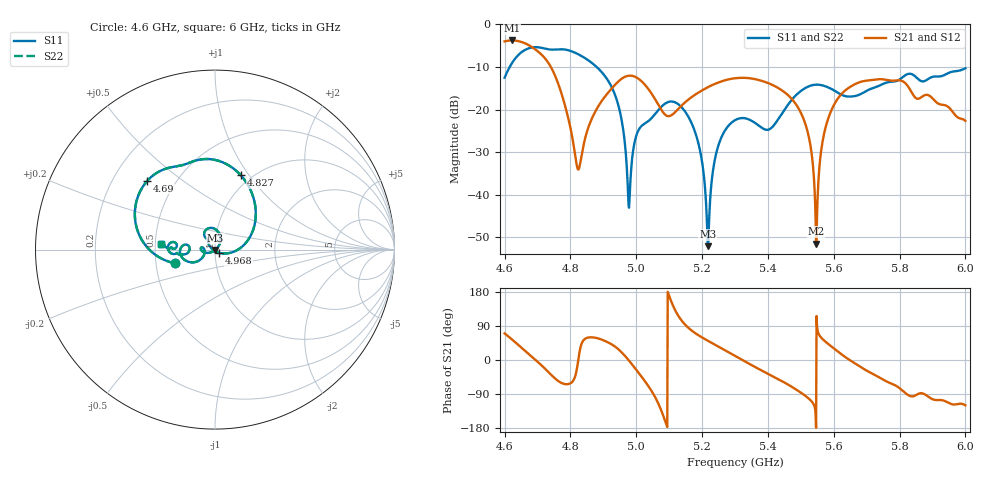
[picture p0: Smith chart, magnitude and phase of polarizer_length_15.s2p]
! TOUCHSTONE file generated by CST MICROWAVE STUDIO
! Date and time: Sun Dec  1 17:17:01 2024
! Project name: test_tuning.cst
! Parameters = {airCoaxOuterDiameter=3; chamferAngle=45; chamferWidth=24; connectorLength=10; drillingHoleDiameter=4.1; feedLength=60; flareDiameter=130; flareLength=70; gratingDistance=0; gratingGap=1.90274; outletLength=30; polarizerLength=92; probe1Diameter=1.3; probe1Distance=14; probe1Length=12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
! Header version: 2024
! Port assignment regex: !\s*Touchstone port\s*([0-9]+)\s*=\s*(CST MWS port|CST DES external port|CST DES block port)\s*(.+)\s* \(\"(.*)\"\)(\s*mode\s*([0-9]+))?.*
! Touchstone port assignment:
! Touchstone port 1 = CST MWS port 1 ("Input1")
! Touchstone port 2 = CST MWS port 2 ("Input2")
# GHz S MA R 50
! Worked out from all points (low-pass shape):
!   1001 points, 4.6 GHz to 6 GHz, reference 50 ohm
!   highest |S21| = -3.81 dB at 4.622 GHz (marker M1); lowest = -51.4 dB at 5.546 GHz (marker M2)
!   |S21| within 3 dB of the highest: start of sweep to 4.708 GHz
!   lowest |S11| = -52.0 dB at 5.217 GHz (marker M3), VSWR 1.01, Z = 50.2 - j0.149 ohm
!   |S11| at or under -10 dB: start of sweep to 4.615638 GHz; 4.879 GHz to end of sweep
!   |S22| runs from -52.0 to -5.4 dB; largest |S21 - S12| = 1.8e-06
!   S11 on the Smith chart (normalised r, x): 4.6 GHz: 0.63, -0.10; 4.69 GHz: 0.35, +0.38; 4.827 GHz: 0.89, +0.92; 4.968 GHz: 1.05, -0.04; 6 GHz: 0.53, +0.04
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4.6  0.2358 -161.2  0.6291 70.1  0.6291 70.1  0.2358 -161.2
4.6224  0.35 -177.5  0.645 54.2  0.645 54.2  0.35 -177.5
4.6896  0.5379 134.4  0.5186 3.4  0.5186 3.4  0.5379 134.4
4.7582  0.5061 104.7  0.2239 -52.3  0.2239 -52.3  0.5061 104.7
4.8268  0.4382 70.8  0.02079 17.1  0.02079 17.1  0.4382 70.8
4.8338  0.4236 67.4  0.02881 42.6  0.02881 42.6  0.4236 67.4
4.929  0.1707 11.0  0.1829 39.2  0.1829 39.2  0.1707 11.0
4.9682  0.0307 -36.0  0.2442 8.4  0.2442 8.4  0.0307 -36.0
4.9794  0.008641 -159.9  0.2495 -3.2  0.2495 -3.2  0.008641 -159.9
5.0032  0.05335 134.4  0.2344 -29.4  0.2344 -29.4  0.05335 134.4
5.0676  0.09904 127.1  0.1126 -116.1  0.1126 -116.1  0.09904 127.1
5.167  0.0707 64.3  0.1387 78.6  0.1387 78.6  0.0707 64.3
5.2174  0.002501 -36.3  0.1826 50.8  0.1826 50.8  0.0025 -36.3
5.2468  0.03497 -150.3  0.2054 36.6  0.2054 36.6  0.03497 -150.3
5.3  0.07494 -176.0  0.2325 10.9  0.2325 10.9  0.07494 -176.0
5.468  0.1236 -146.9  0.139 -68.4  0.139 -68.4  0.1236 -146.9
5.5338  0.1924 -169.4  0.02843 -110.3  0.02843 -110.3  0.1924 -169.4
5.5464  0.1956 -174.7  0.002684 -179.0  0.002684 -179.0  0.1956 -174.7
5.5688  0.1903 177.1  0.04811 53.0  0.04811 53.0  0.1903 177.1
5.6052  0.1637 170.2  0.1216 27.3  0.1216 27.3  0.1637 170.2
5.7676  0.2101 -174.2  0.2196 -59.4  0.2196 -59.4  0.2101 -174.2
6  0.3045 173.7  0.07362 -119.4  0.07362 -119.4  0.3045 173.7
